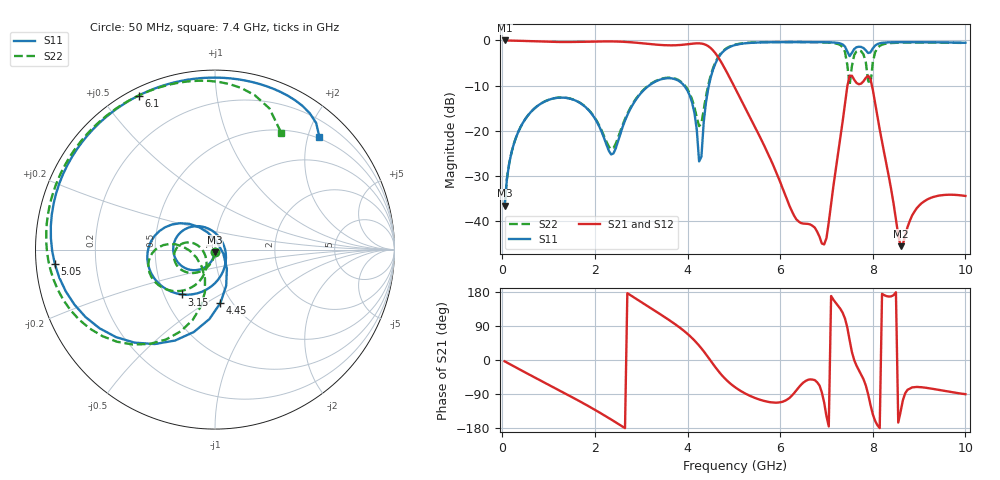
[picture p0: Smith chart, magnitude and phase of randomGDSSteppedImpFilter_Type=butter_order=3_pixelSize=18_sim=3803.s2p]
! freq	dB(S11)	phase(S11)	dB(S12)	phase(S12)
!  dB(S21)	phase(S21)	dB(S22)	phase(S22)
!S-par simulation data
#  GHz  S  DB  R 50
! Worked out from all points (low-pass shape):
!   200 points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, 50 MHz to 10 GHz, reference 50 ohm
!   highest |S21| = -0.01 dB at 50 MHz (marker M1); lowest = -45.6 dB at 8.6 GHz (marker M2)
!   |S21| within 3 dB of the highest: start of sweep to 4.613 GHz
!   lowest |S11| = -36.6 dB at 50 MHz (marker M3), VSWR 1.03, Z = 49.9 - j1.47 ohm
!   |S11| at or under -10 dB: start of sweep to 3.168 GHz; 3.924 GHz to 4.461 GHz (536.5 MHz wide, 12.8 % of centre)
!   |S22| runs from -36.6 to -0.3 dB; largest |S21 - S12| = 0
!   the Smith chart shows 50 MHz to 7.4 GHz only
!   S11 on the Smith chart (normalised r, x): 50 MHz: 1.00, -0.03; 3.15 GHz: 0.61, -0.34; 4.45 GHz: 0.89, -0.58; 5.05 GHz: 0.06, -0.05; 6.1 GHz: 0.03, +0.62; 7.4 GHz: 0.48, +2.21
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0.05  -36.61 -93.2  -0.01 -3.4  -0.01 -3.4  -36.60 -92.6
0.55  -16.66 -129.9  -0.14 -36.4  -0.14 -36.4  -16.64 -123.8
1.75  -14.35 140.2  -0.30 -114.2  -0.30 -114.2  -14.31 171.3
2.35  -25.23 26.7  -0.22 -156.9  -0.22 -156.9  -24.06 -160.1
3.15  -10.14 -126.7  -0.77 141.2  -0.77 141.2  -10.03 -132.7
3.4  -8.70 -149.7  -0.99 121.7  -0.99 121.7  -8.60 -147.8
4  -11.14 149.7  -0.84 69.0  -0.84 69.0  -10.82 175.0
4.25  -26.79 78.4  -0.64 38.1  -0.64 38.1  -18.98 -157.0
4.45  -10.49 -84.2  -1.29 6.4  -1.29 6.4  -9.76 -103.9
4.7  -3.29 -130.8  -4.34 -34.3  -4.34 -34.3  -3.11 -130.8
5.05  -0.96 -174.8  -11.02 -73.9  -11.02 -73.9  -0.88 -165.7
6.1  -0.37 116.4  -33.93 -107.8  -33.93 -107.8  -0.35 137.9
6.7  -0.37 87.1  -41.05 -51.7  -41.05 -51.7  -0.39 112.2
7  -0.40 72.6  -43.77 -148.4  -43.77 -148.4  -0.47 97.7
7.4  -1.37 47.0  -13.96 109.6  -13.96 109.6  -2.55 60.2
7.55  -2.74 57.4  -7.83 20.8  -7.83 20.8  -5.65 105.1
7.85  -2.18 40.1  -8.29 -67.4  -8.29 -67.4  -4.87 57.6
7.95  -2.65 47.1  -8.57 -118.1  -8.57 -118.1  -9.74 105.8
8.35  -0.42 27.6  -30.31 167.5  -30.31 167.5  -0.63 74.3
8.6  -0.39 16.5  -45.55 -137.0  -45.55 -137.0  -0.49 60.2
9.05  -0.40 -1.4  -36.08 -71.8  -36.08 -71.8  -0.46 39.3
10  -0.53 -35.8  -34.44 -90.2  -34.44 -90.2  -0.56 -1.5
